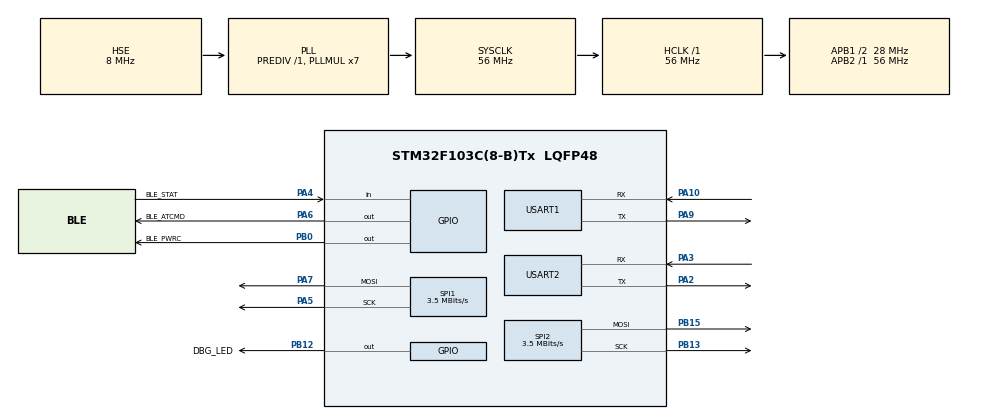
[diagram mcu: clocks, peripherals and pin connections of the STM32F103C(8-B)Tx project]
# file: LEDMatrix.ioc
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Dma.Request0=SPI2_TX
Dma.Request1=SPI1_TX
Dma.Request2=USART2_TX
Dma.Request3=USART2_RX
Dma.SPI1_TX.1.Direction=DMA_MEMORY_TO_PERIPH
Dma.SPI1_TX.1.Instance=DMA1_Channel3
Dma.SPI1_TX.1.MemDataAlignment=DMA_MDATAALIGN_BYTE
Dma.SPI1_TX.1.MemInc=DMA_MINC_ENABLE
Dma.SPI1_TX.1.Mode=DMA_NORMAL
Dma.SPI1_TX.1.PeriphDataAlignment=DMA_PDATAALIGN_BYTE
Dma.SPI1_TX.1.PeriphInc=DMA_PINC_DISABLE
Dma.SPI1_TX.1.Priority=DMA_PRIORITY_HIGH
Dma.SPI2_TX.0.Direction=DMA_MEMORY_TO_PERIPH
Dma.SPI2_TX.0.Instance=DMA1_Channel5
Dma.SPI2_TX.0.MemDataAlignment=DMA_MDATAALIGN_BYTE
Dma.SPI2_TX.0.MemInc=DMA_MINC_ENABLE
Dma.SPI2_TX.0.Mode=DMA_NORMAL
Dma.SPI2_TX.0.PeriphDataAlignment=DMA_PDATAALIGN_BYTE
Dma.SPI2_TX.0.PeriphInc=DMA_PINC_DISABLE
Dma.SPI2_TX.0.Priority=DMA_PRIORITY_HIGH
Dma.USART2_RX.3.Direction=DMA_PERIPH_TO_MEMORY
Dma.USART2_RX.3.Instance=DMA1_Channel6
Dma.USART2_RX.3.MemDataAlignment=DMA_MDATAALIGN_BYTE
Dma.USART2_RX.3.MemInc=DMA_MINC_ENABLE
Dma.USART2_RX.3.Mode=DMA_NORMAL
Dma.USART2_RX.3.PeriphDataAlignment=DMA_PDATAALIGN_BYTE
Dma.USART2_RX.3.PeriphInc=DMA_PINC_DISABLE
Dma.USART2_RX.3.Priority=DMA_PRIORITY_LOW
Dma.USART2_TX.2.Direction=DMA_MEMORY_TO_PERIPH
Dma.USART2_TX.2.Instance=DMA1_Channel7
Dma.USART2_TX.2.MemDataAlignment=DMA_MDATAALIGN_BYTE
Dma.USART2_TX.2.MemInc=DMA_MINC_ENABLE
Dma.USART2_TX.2.Mode=DMA_NORMAL
Dma.USART2_TX.2.PeriphDataAlignment=DMA_PDATAALIGN_BYTE
Dma.USART2_TX.2.PeriphInc=DMA_PINC_DISABLE
Dma.USART2_TX.2.Priority=DMA_PRIORITY_LOW
FREERTOS.Queues01=g_cmdBus,2,512,1,Dynamic,NULL,NULL
FREERTOS.Tasks01=defaultTask,0,128,TaskProc_Default,Default,NULL,Dynamic,NULL,NULL;displayTask,-3,128,TaskProc_Display,Default,NULL,Dynamic,NULL,NULL
FREERTOS.configTOTAL_HEAP_SIZE=8192
Mcu.Family=STM32F1
Mcu.Name=STM32F103C(8-B)Tx
Mcu.Package=LQFP48
NVIC.DMA1_Channel3_IRQn=true\:5\:0\:false\:false\:true\:true\:false\:true
NVIC.DMA1_Channel5_IRQn=true\:5\:0\:false\:false\:true\:true\:false\:true
NVIC.DMA1_Channel6_IRQn=true\:5\:0\:false\:false\:true\:true\:false\:true
NVIC.DMA1_Channel7_IRQn=true\:5\:0\:false\:false\:true\:true\:false\:true
NVIC.PriorityGroup=NVIC_PRIORITYGROUP_4
NVIC.SPI1_IRQn=true\:5\:0\:false\:false\:true\:true\:true\:true
NVIC.SPI2_IRQn=true\:5\:0\:false\:false\:true\:true\:true\:true
NVIC.TIM4_IRQn=true\:0\:0\:false\:false\:true\:false\:false\:true
NVIC.TimeBase=TIM4_IRQn
NVIC.TimeBaseIP=TIM4
NVIC.USART2_IRQn=true\:5\:0\:false\:false\:true\:true\:true\:true
PA10.Mode=Asynchronous
PA10.Signal=USART1_RX
PA13.Mode=Serial_Wire
PA13.Signal=SYS_JTMS-SWDIO
PA14.Mode=Serial_Wire
PA14.Signal=SYS_JTCK-SWCLK
PA2.Mode=Asynchronous
PA2.Signal=USART2_TX
PA3.Mode=Asynchronous
PA3.Signal=USART2_RX
PA4.GPIO_Label=BLE_STAT
PA4.GPIO_Mode=GPIO_MODE_INPUT
PA4.GPIO_PuPd=GPIO_NOPULL
PA4.Signal=GPIO_Input
PA5.GPIO_Mode=GPIO_MODE_AF_PP
PA5.GPIO_Speed=GPIO_SPEED_FREQ_HIGH
PA5.Mode=TX_Only_Simplex_Unidirect_Master
PA5.Signal=SPI1_SCK
PA6.GPIO_Label=BLE_ATCMD
PA6.GPIO_ModeDefaultOutputPP=GPIO_MODE_OUTPUT_PP
PA6.GPIO_PuPd=GPIO_NOPULL
PA6.GPIO_Speed=GPIO_SPEED_FREQ_LOW
PA6.PinState=GPIO_PIN_RESET
PA6.Signal=GPIO_Output
PA7.GPIO_Mode=GPIO_MODE_AF_PP
PA7.GPIO_Speed=GPIO_SPEED_FREQ_HIGH
PA7.Mode=TX_Only_Simplex_Unidirect_Master
PA7.Signal=SPI1_MOSI
PA9.Mode=Asynchronous
PA9.Signal=USART1_TX
PB0.GPIO_Label=BLE_PWRC
PB0.GPIO_ModeDefaultOutputPP=GPIO_MODE_OUTPUT_PP
PB0.GPIO_PuPd=GPIO_NOPULL
PB0.GPIO_Speed=GPIO_SPEED_FREQ_LOW
PB0.PinState=GPIO_PIN_RESET
PB0.Signal=GPIO_Output
PB12.GPIO_Label=DBG_LED
PB12.GPIO_ModeDefaultOutputPP=GPIO_MODE_OUTPUT_PP
PB12.GPIO_PuPd=GPIO_NOPULL
PB12.GPIO_Speed=GPIO_SPEED_FREQ_LOW
PB12.PinState=GPIO_PIN_RESET
PB12.Signal=GPIO_Output
PB13.GPIO_Mode=GPIO_MODE_AF_PP
PB13.GPIO_Speed=GPIO_SPEED_FREQ_HIGH
PB13.Mode=TX_Only_Simplex_Unidirect_Master
PB13.Signal=SPI2_SCK
PB15.GPIO_Mode=GPIO_MODE_AF_PP
PB15.GPIO_Speed=GPIO_SPEED_FREQ_HIGH
PB15.Mode=TX_Only_Simplex_Unidirect_Master
PB15.Signal=SPI2_MOSI
PD0-OSC_IN.Mode=HSE-External-Oscillator
PD0-OSC_IN.Signal=RCC_OSC_IN
PD1-OSC_OUT.Mode=HSE-External-Oscillator
PD1-OSC_OUT.Signal=RCC_OSC_OUT
ProjectManager.HeapSize=0x200
ProjectManager.StackSize=0x400
ProjectManager.TargetToolchain=Other Toolchains (GPDSC)
RCC.AHBFreq_Value=56000000
RCC.APB1CLKDivider=RCC_HCLK_DIV2
RCC.APB1Freq_Value=28000000
RCC.APB1TimFreq_Value=56000000
RCC.APB2Freq_Value=56000000
RCC.APB2TimFreq_Value=56000000
RCC.EnbaleCSS=true
RCC.HCLKFreq_Value=56000000
RCC.PLLMUL=RCC_PLL_MUL7
RCC.PLLSourceVirtual=RCC_PLLSOURCE_HSE
RCC.SYSCLKFreq_VALUE=56000000
RCC.SYSCLKSource=RCC_SYSCLKSOURCE_PLLCLK
RCC.USBFreq_Value=56000000
SPI1.BaudRatePrescaler=SPI_BAUDRATEPRESCALER_16
SPI1.CLKPhase=SPI_PHASE_1EDGE
SPI1.CalculateBaudRate=3.5 MBits/s
SPI1.Direction=SPI_DIRECTION_2LINES
SPI1.Mode=SPI_MODE_MASTER
SPI1.VirtualType=VM_MASTER
SPI2.BaudRatePrescaler=SPI_BAUDRATEPRESCALER_8
SPI2.CLKPhase=SPI_PHASE_1EDGE
SPI2.CalculateBaudRate=3.5 MBits/s
SPI2.Direction=SPI_DIRECTION_2LINES
SPI2.Mode=SPI_MODE_MASTER
SPI2.VirtualType=VM_MASTER
USART1.VirtualMode=VM_ASYNC
USART2.VirtualMode=VM_ASYNC
VP_FREERTOS_VS_CMSIS_V1.Mode=CMSIS_V1
VP_SYS_VS_tim4.Mode=TIM4
board=custom

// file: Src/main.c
/* USER CODE BEGIN Header */
/**
 ******************************************************************************
 * @file           : main.c
 * @brief          : Main program body
 ******************************************************************************
 * @attention
 *
 * <h2><center>&copy; Copyright (c) 2019 STMicroelectronics.
 * All rights reserved.</center></h2>
 *
 * This software component is licensed by ST under BSD 3-Clause license,
 * the "License"; You may not use this file except in compliance with the
 * License. You may obtain a copy of the License at:
 *                        opensource.org/licenses/BSD-3-Clause
 *
 ******************************************************************************
 */
/* USER CODE END Header */

#include "main.h"
#include "cmsis_os.h"

/* USER CODE BEGIN Includes */
#include <string.h>
#include <stdlib.h>

#include "devices/devices.h"
#include "settings.h"
#include "comm.h"
/* USER CODE END Includes */

SPI_HandleTypeDef hspi1;
SPI_HandleTypeDef hspi2;
DMA_HandleTypeDef hdma_spi1_tx;
DMA_HandleTypeDef hdma_spi2_tx;

UART_HandleTypeDef huart1;
UART_HandleTypeDef huart2;
DMA_HandleTypeDef hdma_usart2_tx;
DMA_HandleTypeDef hdma_usart2_rx;

osThreadId defaultTaskHandle;
osThreadId displayTaskHandle;
osMessageQId g_cmdBusHandle;
/* USER CODE BEGIN PV */

Display g_display[1];

/* USER CODE END PV */

void SystemClock_Config(void);
static void MX_GPIO_Init(void);
static void MX_DMA_Init(void);
static void MX_SPI1_Init(void);
static void MX_SPI2_Init(void);
static void MX_USART1_UART_Init(void);
static void MX_USART2_UART_Init(void);
void TaskProc_Default(void const * argument);
void TaskProc_Display(void const * argument);

/* USER CODE BEGIN PFP */
static int MsgProc_System_Reset(const Comm_RemoteHeader* header, const void* args);
static int MsgProc_System_Hello(const Comm_RemoteHeader* header, const void* args);
static int MsgProc_Display_Fill(const Comm_RemoteHeader* header, const void* args);
static int MsgProc_Display_SetPixel(const Comm_RemoteHeader* header, const void* args);
static int MsgProc_Display_SetPixelXY(const Comm_RemoteHeader* header, const void* args);
static int MsgProc_Config_DisplaySettings(const Comm_RemoteHeader* header, const void* args);
static int MsgProc_Config_Restore(const Comm_RemoteHeader* header, const void* args);
/* USER CODE END PFP */

/* USER CODE BEGIN 0 */
static int MsgProc_System_Reset(const Comm_RemoteHeader* header, const void* args)
{
    HAL_NVIC_SystemReset();
    return 0;
}

static int MsgProc_System_Hello(const Comm_RemoteHeader* header, const void* args)
{
    uint8_t responseBody[6];
    memcpy(responseBody, JDY08_GetMac(), 6);

    if (Comm_ReplyPackage(header->ID, header->Type, responseBody, 6) != 0) {
        return -1;
    }
    return 0;
}

static int MsgProc_Display_Fill(const Comm_RemoteHeader* header, const void* args)
{
    const uint8_t* pColorIndex = (const uint8_t*)args;
    if (Display_Fill(&g_display[0], *pColorIndex) != 0) {
        return -1;
    }
    return 0;
}

static int MsgProc_Display_SetPixel(const Comm_RemoteHeader* header, const void* args)
{
    const uint8_t* buf = (const uint8_t*)args;
    const uint16_t* pixelIndex = (const uint16_t*)buf;
    const uint8_t* colorIndex = buf + 2;
    if (Display_SetPixel(&g_display[0], *pixelIndex, *colorIndex) != 0) {
        return -1;
    }
    return 0;
}

static int MsgProc_Display_SetPixelXY(const Comm_RemoteHeader* header, const void* args)
{
    /*
    const uint8_t* buf = (const uint8_t*)args;
    const uint16_t* x = (const uint16_t*)buf;
    const uint16_t* y = (const uint16_t*)(buf + 2);
    const uint8_t* colorIndex = buf + 4;
    */
    const Comm_Display_SetPixelXY_Arguments* typedArgs =
        (const Comm_Display_SetPixelXY_Arguments*) args;
    if (Display_SetPixelXY(&g_display[0], typedArgs->X, typedArgs->Y, typedArgs->ColorIndex) != 0) {
        return -1;
    }
    return 0;
}

static int MsgProc_Config_DisplaySettings(const Comm_RemoteHeader* header, const void* args)
{
    const uint8_t* buf = (const uint8_t*)args;
    AppSettings settings;
    // �? Flash 取出现有设置到临时变�?
    memcpy(&settings, (const void*)Settings_Get(), sizeof(AppSettings));
    // 执行显示设置修改
    settings.DisplaySettings.LedCount = *((const uint16_t*)buf);
    settings.DisplaySettings.XMax = (*(const uint16_t*)(buf + 2));
    settings.DisplaySettings.YMax = (*(const uint16_t*)(buf + 4));
    settings.DisplaySettings.XSkip = (*(const uint16_t*)(buf + 6));
    settings.DisplaySettings.YSkip = (*(const uint16_t*)(buf + 8));
    // 设置调色�?
    uint16_t bytesIndex = 0;
    const uint8_t* paletteBytes = buf + 10;
    for (uint16_t i = 0; i < PALETTE_SIZE; i++) {
        settings.DisplaySettings.Palette[i].Red = paletteBytes[bytesIndex];
        settings.DisplaySettings.Palette[i].Green = paletteBytes[bytesIndex + 1];
        settings.DisplaySettings.Palette[i].Blue = paletteBytes[bytesIndex + 2];
        bytesIndex += 3;
    }
    // 保存设置
    Settings_Save(&settings);
    // 返回响应
    uint8_t responseArgs = 0;
    if (Comm_ReplyPackage(header->ID, header->Type, &responseArgs, 1) != 0) {
        return -1;
    }
    // 执行重启
    HAL_NVIC_SystemReset();
    return 0;
}

static int MsgProc_Config_Restore(const Comm_RemoteHeader* header, const void* args)
{
    // 恢复默认设置
    Settings_Restore();
    // 执行重启
    HAL_NVIC_SystemReset();
    return 0;
}
/* USER CODE END 0 */

int main(void)
{

  /* MCU Configuration--------------------------------------------------------*/

  /* Reset of all peripherals, Initializes the Flash interface and the Systick. */
  HAL_Init();

  /* Configure the system clock */
  SystemClock_Config();

  /* Initialize all configured peripherals */
  MX_GPIO_Init();
  MX_DMA_Init();
  MX_SPI1_Init();
  MX_SPI2_Init();
  MX_USART1_UART_Init();
  MX_USART2_UART_Init();
  /* USER CODE BEGIN 2 */

    // 初始化指示灯
    Indicator_Init();
    Indicator_TurnOn(0);

    //初始化设�?
    Settings_Init();
    if (Settings_IsFirstBoot()) {
        Settings_Restore();
    }

    // 初始化显示模�?????????
    if (Display_Init(&g_display[0], &Settings_Get()->DisplaySettings, &hspi1) != 0) {
        Error_Handler();
    }

    //初始化蓝牙模�?????????
    if (JDY08_Init(&huart2, &hdma_usart2_rx) != 0) {
        Error_Handler();
    }

  /* USER CODE END 2 */

  /* Create the queue(s) */
  /* definition and creation of g_cmdBus */
  osMessageQDef(g_cmdBus, 2, 512);
  g_cmdBusHandle = osMessageCreate(osMessageQ(g_cmdBus), NULL);

  /* Create the thread(s) */
  /* definition and creation of defaultTask */
  osThreadDef(defaultTask, TaskProc_Default, osPriorityNormal, 0, 128);
  defaultTaskHandle = osThreadCreate(osThread(defaultTask), NULL);

  /* definition and creation of displayTask */
  osThreadDef(displayTask, TaskProc_Display, osPriorityIdle, 0, 128);
  displayTaskHandle = osThreadCreate(osThread(displayTask), NULL);

  /* Start scheduler */
  osKernelStart();

  /* We should never get here as control is now taken by the scheduler */

  /* Infinite loop */
    while (1) {

    }
}

void SystemClock_Config(void)
{
  RCC_OscInitTypeDef RCC_OscInitStruct = {0};
  RCC_ClkInitTypeDef RCC_ClkInitStruct = {0};

  /** Initializes the CPU, AHB and APB busses clocks
  */
  RCC_OscInitStruct.OscillatorType = RCC_OSCILLATORTYPE_HSE;
  RCC_OscInitStruct.HSEState = RCC_HSE_ON;
  RCC_OscInitStruct.HSEPredivValue = RCC_HSE_PREDIV_DIV1;
  RCC_OscInitStruct.HSIState = RCC_HSI_ON;
  RCC_OscInitStruct.PLL.PLLState = RCC_PLL_ON;
  RCC_OscInitStruct.PLL.PLLSource = RCC_PLLSOURCE_HSE;
  RCC_OscInitStruct.PLL.PLLMUL = RCC_PLL_MUL7;
  if (HAL_RCC_OscConfig(&RCC_OscInitStruct) != HAL_OK)
  {
    Error_Handler();
  }
  /** Initializes the CPU, AHB and APB busses clocks
  */
  RCC_ClkInitStruct.ClockType = RCC_CLOCKTYPE_HCLK|RCC_CLOCKTYPE_SYSCLK
                              |RCC_CLOCKTYPE_PCLK1|RCC_CLOCKTYPE_PCLK2;
  RCC_ClkInitStruct.SYSCLKSource = RCC_SYSCLKSOURCE_PLLCLK;
  RCC_ClkInitStruct.AHBCLKDivider = RCC_SYSCLK_DIV1;
  RCC_ClkInitStruct.APB1CLKDivider = RCC_HCLK_DIV2;
  RCC_ClkInitStruct.APB2CLKDivider = RCC_HCLK_DIV1;

  if (HAL_RCC_ClockConfig(&RCC_ClkInitStruct, FLASH_LATENCY_2) != HAL_OK)
  {
    Error_Handler();
  }
  /** Enables the Clock Security System
  */
  HAL_RCC_EnableCSS();
}

static void MX_SPI1_Init(void)
{

  /* SPI1 parameter configuration*/
  hspi1.Instance = SPI1;
  hspi1.Init.Mode = SPI_MODE_MASTER;
  hspi1.Init.Direction = SPI_DIRECTION_2LINES;
  hspi1.Init.DataSize = SPI_DATASIZE_8BIT;
  hspi1.Init.CLKPolarity = SPI_POLARITY_LOW;
  hspi1.Init.CLKPhase = SPI_PHASE_1EDGE;
  hspi1.Init.NSS = SPI_NSS_SOFT;
  hspi1.Init.BaudRatePrescaler = SPI_BAUDRATEPRESCALER_16;
  hspi1.Init.FirstBit = SPI_FIRSTBIT_MSB;
  hspi1.Init.TIMode = SPI_TIMODE_DISABLE;
  hspi1.Init.CRCCalculation = SPI_CRCCALCULATION_DISABLE;
  hspi1.Init.CRCPolynomial = 10;
  if (HAL_SPI_Init(&hspi1) != HAL_OK)
  {
    Error_Handler();
  }

}

static void MX_SPI2_Init(void)
{

  /* SPI2 parameter configuration*/
  hspi2.Instance = SPI2;
  hspi2.Init.Mode = SPI_MODE_MASTER;
  hspi2.Init.Direction = SPI_DIRECTION_2LINES;
  hspi2.Init.DataSize = SPI_DATASIZE_8BIT;
  hspi2.Init.CLKPolarity = SPI_POLARITY_LOW;
  hspi2.Init.CLKPhase = SPI_PHASE_1EDGE;
  hspi2.Init.NSS = SPI_NSS_SOFT;
  hspi2.Init.BaudRatePrescaler = SPI_BAUDRATEPRESCALER_8;
  hspi2.Init.FirstBit = SPI_FIRSTBIT_MSB;
  hspi2.Init.TIMode = SPI_TIMODE_DISABLE;
  hspi2.Init.CRCCalculation = SPI_CRCCALCULATION_DISABLE;
  hspi2.Init.CRCPolynomial = 10;
  if (HAL_SPI_Init(&hspi2) != HAL_OK)
  {
    Error_Handler();
  }

}

static void MX_USART1_UART_Init(void)
{

  huart1.Instance = USART1;
  huart1.Init.BaudRate = 115200;
  huart1.Init.WordLength = UART_WORDLENGTH_8B;
  huart1.Init.StopBits = UART_STOPBITS_1;
  huart1.Init.Parity = UART_PARITY_NONE;
  huart1.Init.Mode = UART_MODE_TX_RX;
  huart1.Init.HwFlowCtl = UART_HWCONTROL_NONE;
  huart1.Init.OverSampling = UART_OVERSAMPLING_16;
  if (HAL_UART_Init(&huart1) != HAL_OK)
  {
    Error_Handler();
  }

}

static void MX_USART2_UART_Init(void)
{

  huart2.Instance = USART2;
  huart2.Init.BaudRate = 115200;
  huart2.Init.WordLength = UART_WORDLENGTH_8B;
  huart2.Init.StopBits = UART_STOPBITS_1;
  huart2.Init.Parity = UART_PARITY_NONE;
  huart2.Init.Mode = UART_MODE_TX_RX;
  huart2.Init.HwFlowCtl = UART_HWCONTROL_NONE;
  huart2.Init.OverSampling = UART_OVERSAMPLING_16;
  if (HAL_UART_Init(&huart2) != HAL_OK)
  {
    Error_Handler();
  }

}

static void MX_DMA_Init(void)
{

  /* DMA controller clock enable */
  __HAL_RCC_DMA1_CLK_ENABLE();

  /* DMA interrupt init */
  /* DMA1_Channel3_IRQn interrupt configuration */
  HAL_NVIC_SetPriority(DMA1_Channel3_IRQn, 5, 0);
  HAL_NVIC_EnableIRQ(DMA1_Channel3_IRQn);
  /* DMA1_Channel5_IRQn interrupt configuration */
  HAL_NVIC_SetPriority(DMA1_Channel5_IRQn, 5, 0);
  HAL_NVIC_EnableIRQ(DMA1_Channel5_IRQn);
  /* DMA1_Channel6_IRQn interrupt configuration */
  HAL_NVIC_SetPriority(DMA1_Channel6_IRQn, 5, 0);
  HAL_NVIC_EnableIRQ(DMA1_Channel6_IRQn);
  /* DMA1_Channel7_IRQn interrupt configuration */
  HAL_NVIC_SetPriority(DMA1_Channel7_IRQn, 5, 0);
  HAL_NVIC_EnableIRQ(DMA1_Channel7_IRQn);

}

static void MX_GPIO_Init(void)
{
  GPIO_InitTypeDef GPIO_InitStruct = {0};

  /* GPIO Ports Clock Enable */
  __HAL_RCC_GPIOD_CLK_ENABLE();
  __HAL_RCC_GPIOA_CLK_ENABLE();
  __HAL_RCC_GPIOB_CLK_ENABLE();

  /*Configure GPIO pin Output Level */
  HAL_GPIO_WritePin(BLE_ATCMD_GPIO_Port, BLE_ATCMD_Pin, GPIO_PIN_RESET);

  /*Configure GPIO pin Output Level */
  HAL_GPIO_WritePin(GPIOB, BLE_PWRC_Pin|DBG_LED_Pin, GPIO_PIN_RESET);

  /*Configure GPIO pin : BLE_STAT_Pin */
  GPIO_InitStruct.Pin = BLE_STAT_Pin;
  GPIO_InitStruct.Mode = GPIO_MODE_INPUT;
  GPIO_InitStruct.Pull = GPIO_NOPULL;
  HAL_GPIO_Init(BLE_STAT_GPIO_Port, &GPIO_InitStruct);

  /*Configure GPIO pin : BLE_ATCMD_Pin */
  GPIO_InitStruct.Pin = BLE_ATCMD_Pin;
  GPIO_InitStruct.Mode = GPIO_MODE_OUTPUT_PP;
  GPIO_InitStruct.Pull = GPIO_NOPULL;
  GPIO_InitStruct.Speed = GPIO_SPEED_FREQ_LOW;
  HAL_GPIO_Init(BLE_ATCMD_GPIO_Port, &GPIO_InitStruct);

  /*Configure GPIO pins : BLE_PWRC_Pin DBG_LED_Pin */
  GPIO_InitStruct.Pin = BLE_PWRC_Pin|DBG_LED_Pin;
  GPIO_InitStruct.Mode = GPIO_MODE_OUTPUT_PP;
  GPIO_InitStruct.Pull = GPIO_NOPULL;
  GPIO_InitStruct.Speed = GPIO_SPEED_FREQ_LOW;
  HAL_GPIO_Init(GPIOB, &GPIO_InitStruct);

}

void TaskProc_Default(void const * argument)
{

  /* USER CODE BEGIN 5 */
    // 初始化�?�讯模块
    if (Comm_Init(g_cmdBusHandle) != 0) {
        Error_Handler();
    }

    osEvent event;
    /* Infinite loop */
    for (;;) {
        osThreadYield();
        event = osMessageGet(g_cmdBusHandle, osWaitForever); // wait for message
        if (event.status == osEventMessage) {
            // 解析�???
            Comm_RemoteHeader header = { 0 };
            Comm_ParsePackageHeader(event.value.p, &header);
            const uint8_t* arguments = ((const uint8_t*)event.value.p) + COMM_REMOTE_PACKAGE_HEADER_SIZE;
            switch (header.Type) {
            case MESSAGE_SYSTEM_HELLO:
                MsgProc_System_Hello(&header, arguments);
                break;
            case MESSAGE_SYSTEM_RESET:
                MsgProc_System_Reset(&header, arguments);
                break;
            case MESSAGE_DISPLAY_FILL:
                MsgProc_Display_Fill(&header, arguments);
                break;
            case MESSAGE_DISPLAY_SET_PIXEL:
                MsgProc_Display_SetPixel(&header, arguments);
                break;
            case MESSAGE_DISPLAY_SET_PIXELXY:
                MsgProc_Display_SetPixelXY(&header, arguments);
                break;
            case MESSAGE_CONFIG_DISPLAY:
                MsgProc_Config_DisplaySettings(&header, arguments);
                break;
            case MESSAGE_CONFIG_RESTORE:
                MsgProc_Config_Restore(&header, arguments);
                break;
            default:
                break;
            }
        }
    }
  /* USER CODE END 5 */
}

void TaskProc_Display(void const * argument)
{
  /* USER CODE BEGIN TaskProc_Display */
    uint32_t indicatorTimer = 0;
    uint32_t displayTimer = 0;
    /* Infinite loop */
    for (;;) {
        osThreadYield();
        // 刷新显示
        if (HAL_GetTick() - displayTimer >= 40) { // �?�? 40ms 刷新�?�?
            Display_Update(&g_display[0]);
            displayTimer = HAL_GetTick();
        }

        // 已连接则指示灯每 300ms 闪烁�??????????次，未连接则 1500ms 闪烁�??????????�??????????
        uint32_t indicatorInterval = JDY08_IsConnected() ? 400 : 1000;
        if (HAL_GetTick() - indicatorTimer >= indicatorInterval) {
            Indicator_TurnOnInPeriod(0, 200);
            indicatorTimer = HAL_GetTick();
        }

        Indicator_Drive();
    }
  /* USER CODE END TaskProc_Display */
}

void HAL_TIM_PeriodElapsedCallback(TIM_HandleTypeDef *htim)
{
  if (htim->Instance == TIM4) {
    HAL_IncTick();
  }
}

void Error_Handler(void)
{
  /* USER CODE BEGIN Error_Handler_Debug */
    /* User can add his own implementation to report the HAL error return state */
    //打开指示灯常亮，然后卡在这里
    Indicator_TurnOn(0);
    while (1) {
    }
  /* USER CODE END Error_Handler_Debug */
}

#ifdef  USE_FULL_ASSERT
/**
  * @brief  Reports the name of the source file and the source line number
  *         where the assert_param error has occurred.
  * @param  file: pointer to the source file name
  * @param  line: assert_param error line source number
  * @retval None
  */
void assert_failed(uint8_t *file, uint32_t line)
{
  /* USER CODE BEGIN 6 */
    /* User can add his own implementation to report the file name and line
       number,
       tex: printf("Wrong parameters value: file %s on line %d\r\n", file, line)
     */
  /* USER CODE END 6 */
}
#endif /* USE_FULL_ASSERT */

/************************ (C) COPYRIGHT STMicroelectronics *****END OF FILE****/
